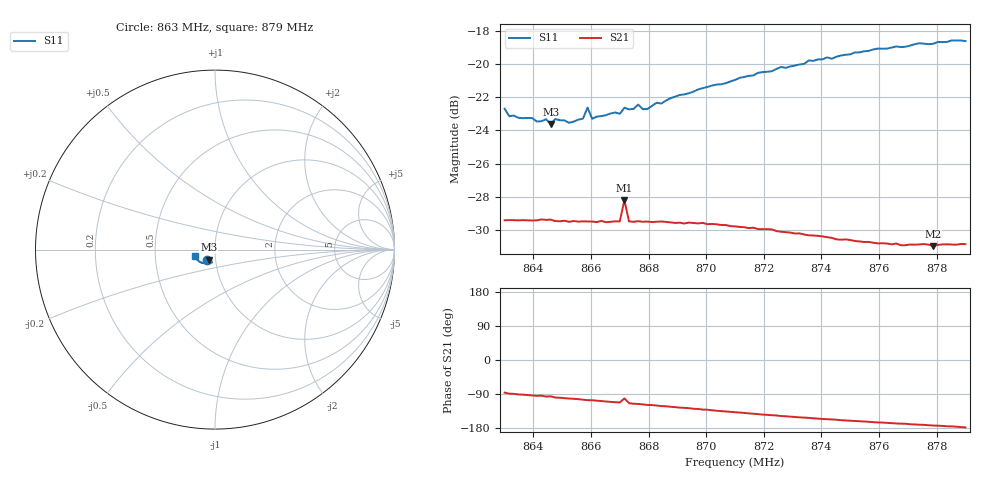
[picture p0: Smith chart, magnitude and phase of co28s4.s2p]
# HZ S RI R 50
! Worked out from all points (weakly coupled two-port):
!   101 points, 863 MHz to 879 MHz, reference 50 ohm
!   highest |S21| = -28.21 dB at 867.16 MHz (marker M1); lowest = -31.0 dB at 877.88 MHz (marker M2)
!   lowest |S11| = -23.6 dB at 864.6 MHz (marker M3), VSWR 1.14, Z = 46.4 - j5.23 ohm
!   |S11| at or under -10 dB: start of sweep to end of sweep
!   S12 and S22 are empty: the file has one direction only
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8.63e8  -0.0462 -0.057  0.00232 -0.0337  0 0  0 0
8.6316e8  -0.0423 -0.0553  0.000706 -0.0338  0 0  0 0
8.6412e8  -0.0385 -0.055  -0.00269 -0.0337  0 0  0 0
8.6444e8  -0.0395 -0.0556  -0.00386 -0.0337  0 0  0 0
8.646e8  -0.0347 -0.0561  -0.00349 -0.0338  0 0  0 0
8.6476e8  -0.038 -0.0568  -0.00532 -0.0332  0 0  0 0
8.6524e8  -0.0351 -0.0565  -0.00677 -0.0328  0 0  0 0
8.6572e8  -0.0352 -0.0588  -0.0085 -0.0325  0 0  0 0
8.6588e8  -0.0424 -0.0606  -0.00925 -0.0322  0 0  0 0
8.6604e8  -0.0345 -0.0591  -0.00932 -0.0322  0 0  0 0
8.67e8  -0.0342 -0.062  -0.0126 -0.0311  0 0  0 0
8.6716e8  -0.0161 -0.0721  -0.00771 -0.0381  0 0  0 0
8.6732e8  -0.0355 -0.0638  -0.0136 -0.0307  0 0  0 0
8.6764e8  -0.0368 -0.0659  -0.0148 -0.0302  0 0  0 0
8.6796e8  -0.0345 -0.0646  -0.0161 -0.0294  0 0  0 0
8.6828e8  -0.0361 -0.0675  -0.0168 -0.0289  0 0  0 0
8.6844e8  -0.0365 -0.0667  -0.0175 -0.0286  0 0  0 0
8.71e8  -0.0484 -0.0753  -0.024 -0.0218  0 0  0 0
8.7372e8  -0.0692 -0.0752  -0.0273 -0.0134  0 0  0 0
8.7644e8  -0.094 -0.0612  -0.0278 -0.00659  0 0  0 0
8.7788e8  -0.1045 -0.0483  -0.028 -0.00351  0 0  0 0
8.79e8  -0.1111 -0.0377  -0.0286 -0.00109  0 0  0 0
